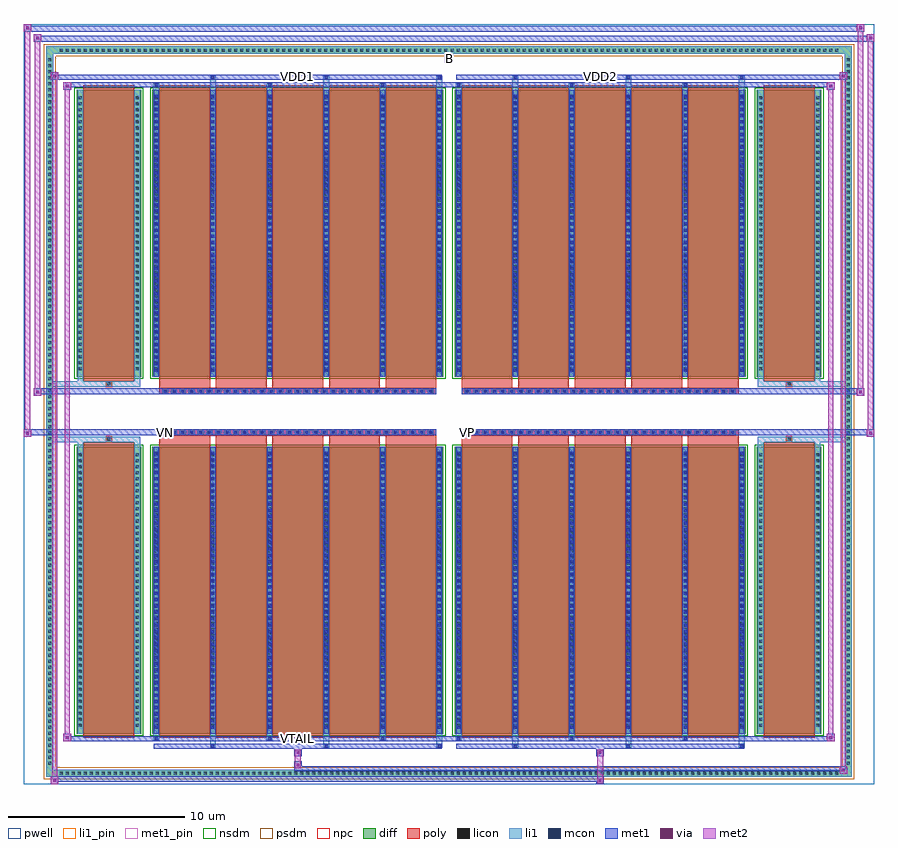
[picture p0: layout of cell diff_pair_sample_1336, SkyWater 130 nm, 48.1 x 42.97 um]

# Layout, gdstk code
import gdstk
lib = gdstk.Library(unit=1e-6, precision=5e-09)
def R(c, l, rs):  # rectangles x0, y0, x1, y1
    for r in rs: c.add(gdstk.rectangle(r[:2], r[2:], *l))
def A(c, l, x, y, w, h, nx, ny, dx, dy):  # array of equal rectangles
    R(c, l, [(x+i*dx, y+j*dy, x+i*dx+w, y+j*dy+h) for i in range(nx) for j in range(ny)])
def P(c, l, *ps):  # polygons
    for p in ps: c.add(gdstk.Polygon(p, *l))
pwell = (64, 44)
diff = (65, 20)
poly = (66, 20)
licon = (66, 44)
li1_pin = (67, 16)
li1 = (67, 20)
mcon = (67, 44)
met1_pin = (68, 16)
met1 = (68, 20)
via = (68, 44)
met2 = (69, 20)
nsdm = (93, 44)
psdm = (94, 20)
npc = (95, 20)

diff_pair_sample_1336 = lib.new_cell('diff_pair_sample_1336')
R(diff_pair_sample_1336, pwell, [(-24.05,-21.05,24.05,21.92), (-21.37,-19.24,-0.01,-0.8), (0.01,-19.24,21.37,-0.8), (-21.37,0.8,-0.01,19.24), (0.01,0.8,21.37,19.24)])
A(diff_pair_sample_1336, diff, -22.135, -20.65, 0.41, 0.41, 130, 2, 0.34, 40.89)
A(diff_pair_sample_1336, diff, -22.78, -20.095, 0.41, 0.41, 1, 118, 0, 0.34)
A(diff_pair_sample_1336, diff, 22.37, -20.095, 0.41, 0.41, 1, 118, 0, 0.34)
R(diff_pair_sample_1336, diff, [(-22.135,-20.65,22.135,-20.24), (-22.78,-20.095,-22.37,20.095), (22.37,-20.095,22.78,20.095), (-21.06,-18.195,-17.41,-1.985), (-16.77,-18.195,-0.32,-1.985), (0.32,-18.195,16.77,-1.985), (17.41,-18.195,21.06,-1.985), (-21.06,1.985,-17.41,18.195), (-16.77,1.985,-0.32,18.195), (0.32,1.985,16.77,18.195), (17.41,1.985,21.06,18.195), (-22.135,20.24,22.135,20.65)])
P(diff_pair_sample_1336, diff, [(22.78,20.65),(-22.78,20.65),(-22.78,-20.24),(-22.37,-20.24),(-22.37,20.24),(22.37,20.24),(22.37,-20.24),(-22.37,-20.24),(-22.78,-20.24),(-22.78,-20.65),(22.78,-20.65)])
A(diff_pair_sample_1336, poly, -16.38, -18.445, 2.87, 16.71, 5, 2, 3.2, 20.18)
A(diff_pair_sample_1336, poly, 0.71, -18.445, 2.87, 16.71, 5, 2, 3.2, 20.18)
A(diff_pair_sample_1336, poly, -16.38, -1.735, 2.87, 0.405, 5, 2, 3.2, 3.065)
A(diff_pair_sample_1336, poly, 0.71, -1.735, 2.87, 0.405, 5, 2, 3.2, 3.065)
A(diff_pair_sample_1336, poly, -16.21, -1.33, 0.33, 0.33, 31, 2, 0.5, 2.33)
A(diff_pair_sample_1336, poly, 0.88, -1.33, 0.33, 0.33, 31, 2, 0.5, 2.33)
R(diff_pair_sample_1336, poly, [(-20.67,-18.445,-17.8,-1.735), (17.8,-18.445,20.67,-1.735), (-19.4,-1.735,-19.07,-1.405), (-19.4,-1.735,-19.07,-1.405), (19.07,-1.735,19.4,-1.405), (19.07,-1.735,19.4,-1.405), (-16.38,-1.33,-0.71,-1), (0.71,-1.33,16.38,-1), (-16.38,1,-0.71,1.33), (0.71,1,16.38,1.33), (-19.4,1.405,-19.07,1.735), (-19.4,1.405,-19.07,1.735), (19.07,1.405,19.4,1.735), (19.07,1.405,19.4,1.735), (-20.67,1.735,-17.8,18.445), (17.8,1.735,20.67,18.445)])
A(diff_pair_sample_1336, licon, -22.015, -20.53, 0.17, 0.17, 130, 2, 0.34, 40.89)
A(diff_pair_sample_1336, licon, -22.66, -19.975, 0.17, 0.17, 1, 118, 0, 0.34)
A(diff_pair_sample_1336, licon, 22.49, -19.975, 0.17, 0.17, 1, 118, 0, 0.34)
A(diff_pair_sample_1336, licon, -20.92, -17.825, 0.17, 0.17, 1, 46, 0, 0.34)
A(diff_pair_sample_1336, licon, -17.72, -17.825, 0.17, 0.17, 1, 46, 0, 0.34)
A(diff_pair_sample_1336, licon, -16.63, -17.825, 0.17, 0.17, 6, 46, 3.2, 0.34)
A(diff_pair_sample_1336, licon, 0.46, -17.825, 0.17, 0.17, 6, 46, 3.2, 0.34)
A(diff_pair_sample_1336, licon, 17.55, -17.825, 0.17, 0.17, 1, 46, 0, 0.34)
A(diff_pair_sample_1336, licon, 20.75, -17.825, 0.17, 0.17, 1, 46, 0, 0.34)
A(diff_pair_sample_1336, licon, -16.13, -1.25, 0.17, 0.17, 31, 2, 0.5, 2.33)
A(diff_pair_sample_1336, licon, 0.96, -1.25, 0.17, 0.17, 31, 2, 0.5, 2.33)
A(diff_pair_sample_1336, licon, -20.92, 2.355, 0.17, 0.17, 1, 46, 0, 0.34)
A(diff_pair_sample_1336, licon, -17.72, 2.355, 0.17, 0.17, 1, 46, 0, 0.34)
A(diff_pair_sample_1336, licon, -16.63, 2.355, 0.17, 0.17, 6, 46, 3.2, 0.34)
A(diff_pair_sample_1336, licon, 0.46, 2.355, 0.17, 0.17, 6, 46, 3.2, 0.34)
A(diff_pair_sample_1336, licon, 17.55, 2.355, 0.17, 0.17, 1, 46, 0, 0.34)
A(diff_pair_sample_1336, licon, 20.75, 2.355, 0.17, 0.17, 1, 46, 0, 0.34)
R(diff_pair_sample_1336, licon, [(-19.32,-1.655,-19.15,-1.485), (19.15,-1.655,19.32,-1.485), (-19.32,1.485,-19.15,1.655), (19.15,1.485,19.32,1.655)])
R(diff_pair_sample_1336, li1_pin, [(-0.25,19.74,0.25,20.24)])
A(diff_pair_sample_1336, li1, -22.095, -20.61, 0.33, 0.33, 130, 2, 0.34, 40.89)
A(diff_pair_sample_1336, li1, -22.74, -20.055, 0.33, 0.33, 1, 118, 0, 0.34)
A(diff_pair_sample_1336, li1, 22.41, -20.055, 0.33, 0.33, 1, 118, 0, 0.34)
A(diff_pair_sample_1336, li1, -13.51, -19, 0.33, 0.805, 3, 2, 6.4, 37.195)
A(diff_pair_sample_1336, li1, -13.43, -19, 0.17, 0.17, 3, 2, 6.4, 37.83)
A(diff_pair_sample_1336, li1, 3.58, -19, 0.33, 0.805, 3, 2, 6.4, 37.195)
A(diff_pair_sample_1336, li1, 3.66, -19, 0.17, 0.17, 3, 2, 6.4, 37.83)
A(diff_pair_sample_1336, li1, -16.71, -18.57, 0.33, 0.375, 3, 2, 6.4, 36.765)
A(diff_pair_sample_1336, li1, -16.63, -18.57, 0.17, 0.17, 3, 2, 6.4, 36.97)
A(diff_pair_sample_1336, li1, 0.38, -18.57, 0.33, 0.375, 3, 2, 6.4, 36.765)
A(diff_pair_sample_1336, li1, 0.46, -18.57, 0.17, 0.17, 3, 2, 6.4, 36.97)
A(diff_pair_sample_1336, li1, -16.71, -18.195, 0.33, 16.21, 6, 2, 3.2, 20.18)
A(diff_pair_sample_1336, li1, 0.38, -18.195, 0.33, 16.21, 6, 2, 3.2, 20.18)
A(diff_pair_sample_1336, li1, -16.63, -17.915, 0.17, 0.17, 6, 44, 3.2, 0.36)
A(diff_pair_sample_1336, li1, -16.63, -17.915, 0.17, 15.65, 6, 2, 3.2, 20.18)
A(diff_pair_sample_1336, li1, 0.46, -17.915, 0.17, 0.17, 6, 44, 3.2, 0.36)
A(diff_pair_sample_1336, li1, 0.46, -17.915, 0.17, 15.65, 6, 2, 3.2, 20.18)
A(diff_pair_sample_1336, li1, -21, -17.905, 0.33, 0.33, 1, 46, 0, 0.34)
A(diff_pair_sample_1336, li1, -17.8, -17.905, 0.33, 0.33, 1, 46, 0, 0.34)
A(diff_pair_sample_1336, li1, -16.71, -17.905, 0.33, 0.33, 6, 46, 3.2, 0.34)
A(diff_pair_sample_1336, li1, 0.38, -17.905, 0.33, 0.33, 6, 46, 3.2, 0.34)
A(diff_pair_sample_1336, li1, 17.47, -17.905, 0.33, 0.33, 1, 46, 0, 0.34)
A(diff_pair_sample_1336, li1, 20.67, -17.905, 0.33, 0.33, 1, 46, 0, 0.34)
A(diff_pair_sample_1336, li1, -16.21, -1.33, 0.33, 0.33, 31, 2, 0.5, 2.33)
A(diff_pair_sample_1336, li1, 0.88, -1.33, 0.33, 0.33, 31, 2, 0.5, 2.33)
A(diff_pair_sample_1336, li1, -16.63, 2.265, 0.17, 0.17, 6, 44, 3.2, 0.36)
A(diff_pair_sample_1336, li1, 0.46, 2.265, 0.17, 0.17, 6, 44, 3.2, 0.36)
A(diff_pair_sample_1336, li1, -21, 2.275, 0.33, 0.33, 1, 46, 0, 0.34)
A(diff_pair_sample_1336, li1, -17.8, 2.275, 0.33, 0.33, 1, 46, 0, 0.34)
A(diff_pair_sample_1336, li1, -16.71, 2.275, 0.33, 0.33, 6, 46, 3.2, 0.34)
A(diff_pair_sample_1336, li1, 0.38, 2.275, 0.33, 0.33, 6, 46, 3.2, 0.34)
A(diff_pair_sample_1336, li1, 17.47, 2.275, 0.33, 0.33, 1, 46, 0, 0.34)
A(diff_pair_sample_1336, li1, 20.67, 2.275, 0.33, 0.33, 1, 46, 0, 0.34)
R(diff_pair_sample_1336, li1, [(-22.78,-20.65,-22.37,-20.24), (-22.78,-20.65,-22.37,-20.24), (-22.37,-20.65,22.37,-20.24), (22.37,-20.65,22.78,-20.24), (22.37,-20.65,22.78,-20.24), (-22.78,-20.24,-22.37,20.24), (22.37,-20.24,22.78,20.24), (-21,-18.195,-20.67,-1.985), (-17.8,-18.195,-17.47,-1.985), (17.47,-18.195,17.8,-1.985), (20.67,-18.195,21,-1.985), (-21,-1.985,-20.67,-1.405), (-17.8,-1.985,-17.47,-1.405), (17.47,-1.985,17.8,-1.405), (20.67,-1.985,21,-1.405), (-22.78,-1.735,-19.4,-1.405), (-21,-1.735,-19.4,-1.405), (-19.4,-1.735,-19.07,-1.405), (-19.07,-1.735,-17.47,-1.405), (17.47,-1.735,19.07,-1.405), (19.07,-1.735,19.4,-1.405), (19.07,-1.735,22.78,-1.405), (19.4,-1.735,21,-1.405), (-22.78,1.405,-19.4,1.735), (-21,1.405,-19.4,1.735), (-21,1.405,-20.67,1.985), (-19.4,1.405,-19.07,1.735), (-19.07,1.405,-17.47,1.735), (-17.8,1.405,-17.47,1.985), (17.47,1.405,19.07,1.735), (17.47,1.405,17.8,1.985), (19.07,1.405,19.4,1.735), (19.07,1.405,22.78,1.735), (19.4,1.405,21,1.735), (20.67,1.405,21,1.985), (-21,1.985,-20.67,18.195), (-17.8,1.985,-17.47,18.195), (17.47,1.985,17.8,18.195), (20.67,1.985,21,18.195), (-22.78,20.24,-22.37,20.65), (-22.78,20.24,-22.37,20.65), (-22.37,20.24,22.37,20.65), (22.37,20.24,22.78,20.65), (22.37,20.24,22.78,20.65)])
A(diff_pair_sample_1336, mcon, -13.43, -19, 0.17, 0.17, 3, 2, 6.4, 37.83)
A(diff_pair_sample_1336, mcon, 3.66, -19, 0.17, 0.17, 3, 2, 6.4, 37.83)
A(diff_pair_sample_1336, mcon, -16.63, -18.57, 0.17, 0.17, 3, 2, 6.4, 36.97)
A(diff_pair_sample_1336, mcon, 0.46, -18.57, 0.17, 0.17, 3, 2, 6.4, 36.97)
A(diff_pair_sample_1336, mcon, -16.63, -17.915, 0.17, 0.17, 6, 44, 3.2, 0.36)
A(diff_pair_sample_1336, mcon, 0.46, -17.915, 0.17, 0.17, 6, 44, 3.2, 0.36)
A(diff_pair_sample_1336, mcon, -16.13, -1.25, 0.17, 0.17, 31, 2, 0.5, 2.33)
A(diff_pair_sample_1336, mcon, 0.96, -1.25, 0.17, 0.17, 31, 2, 0.5, 2.33)
A(diff_pair_sample_1336, mcon, -16.63, 2.265, 0.17, 0.17, 6, 44, 3.2, 0.36)
A(diff_pair_sample_1336, mcon, 0.46, 2.265, 0.17, 0.17, 6, 44, 3.2, 0.36)
R(diff_pair_sample_1336, met1_pin, [(-8.68,-18.61,-8.41,-18.34), (-16.18,-1.29,-15.91,-1.02), (0.91,-1.29,1.18,-1.02), (-8.68,18.79,-8.41,19.06), (8.41,18.79,8.68,19.06)])
A(diff_pair_sample_1336, met1, -13.49, -19.06, 0.29, 0.29, 3, 2, 6.4, 37.83)
A(diff_pair_sample_1336, met1, 3.6, -19.06, 0.29, 0.29, 3, 2, 6.4, 37.83)
A(diff_pair_sample_1336, met1, -16.69, -18.63, 0.29, 0.29, 3, 2, 6.4, 36.97)
A(diff_pair_sample_1336, met1, 0.4, -18.63, 0.29, 0.29, 3, 2, 6.4, 36.97)
A(diff_pair_sample_1336, met1, -16.69, -18.195, 0.29, 16.21, 6, 2, 3.2, 20.18)
A(diff_pair_sample_1336, met1, 0.4, -18.195, 0.29, 16.21, 6, 2, 3.2, 20.18)
A(diff_pair_sample_1336, met1, -16.69, -17.975, 0.29, 0.29, 6, 44, 3.2, 0.36)
A(diff_pair_sample_1336, met1, 0.4, -17.975, 0.29, 0.29, 6, 44, 3.2, 0.36)
A(diff_pair_sample_1336, met1, -16.19, -1.31, 0.29, 0.29, 31, 2, 0.5, 2.33)
A(diff_pair_sample_1336, met1, 0.9, -1.31, 0.29, 0.29, 31, 2, 0.5, 2.33)
A(diff_pair_sample_1336, met1, -16.69, 2.205, 0.29, 0.29, 6, 44, 3.2, 0.36)
A(diff_pair_sample_1336, met1, 0.4, 2.205, 0.29, 0.29, 6, 44, 3.2, 0.36)
R(diff_pair_sample_1336, met1, [(-22.51,-21.05,-22.08,-20.62), (8.33,-21.05,8.76,-20.62), (-22.51,-20.91,8.76,-20.62), (22.08,-20.48,22.51,-20.05), (-8.76,-20.34,22.51,-20.05), (-8.76,-20.2,-8.33,-19.77), (-8.76,-19.49,-8.33,-19.06), (8.33,-19.49,8.76,-19.06), (-16.69,-19.06,-0.4,-18.77), (0.4,-19.06,16.69,-18.77), (-21.8,-18.63,-21.37,-18.2), (-21.8,-18.63,-16.69,-18.34), (-16.69,-18.63,-0.4,-18.34), (-0.4,-18.63,0.4,-18.34), (0.4,-18.63,16.69,-18.34), (16.69,-18.63,21.8,-18.34), (21.37,-18.63,21.8,-18.2), (-24.05,-1.43,-23.62,-1), (23.62,-1.43,24.05,-1), (-24.05,-1.33,-0.71,-1), (-16.38,-1.33,-0.71,-1), (0.71,-1.33,16.38,-1), (0.71,-1.33,24.05,-1), (-23.48,0.9,-23.05,1.33), (23.05,0.9,23.48,1.33), (-23.48,1,-16.38,1.33), (-16.38,1,-0.71,1.33), (0.71,1,16.38,1.33), (16.38,1,23.48,1.33), (-21.8,18.2,-21.37,18.63), (21.37,18.2,21.8,18.63), (-21.8,18.34,-16.69,18.63), (-16.69,18.34,-0.4,18.63), (-0.4,18.34,0.4,18.63), (0.4,18.34,16.69,18.63), (16.69,18.34,21.8,18.63), (-22.51,18.77,-22.08,19.2), (-22.51,18.77,-16.69,19.06), (-16.69,18.77,-0.4,19.06), (0.4,18.77,16.69,19.06), (16.69,18.77,22.51,19.06), (22.08,18.77,22.51,19.2), (-23.48,20.92,-23.05,21.35), (-23.48,20.92,-21.37,21.25), (-21.37,20.92,21.37,21.25), (21.37,20.92,24.05,21.25), (23.62,20.92,24.05,21.35), (-24.05,21.49,-23.62,21.92), (-24.05,21.49,-21.37,21.82), (-21.37,21.49,21.37,21.82), (21.37,21.49,23.48,21.82), (23.05,21.49,23.48,21.92)])
R(diff_pair_sample_1336, via, [(-22.37,-20.91,-22.22,-20.76), (8.47,-20.91,8.62,-20.76), (22.22,-20.34,22.37,-20.19), (-8.62,-20.06,-8.47,-19.91), (-8.62,-19.35,-8.47,-19.2), (8.47,-19.35,8.62,-19.2), (-21.66,-18.49,-21.51,-18.34), (21.51,-18.49,21.66,-18.34), (-23.91,-1.29,-23.76,-1.14), (23.76,-1.29,23.91,-1.14), (-23.34,1.04,-23.19,1.19), (23.19,1.04,23.34,1.19), (-21.66,18.34,-21.51,18.49), (21.51,18.34,21.66,18.49), (-22.37,18.91,-22.22,19.06), (22.22,18.91,22.37,19.06), (-23.34,21.06,-23.19,21.21), (23.76,21.06,23.91,21.21), (-23.91,21.63,-23.76,21.78), (23.19,21.63,23.34,21.78)])
R(diff_pair_sample_1336, met2, [(-22.51,-21.05,-22.08,-20.62), (-22.44,-21.05,-22.15,19.2), (-22.15,-21.05,-22.08,-20.62), (-22.46,-21,-22.13,-20.67), (8.38,-21,8.71,-20.67), (8.38,-20.67,8.71,-19.44), (22.08,-20.48,22.51,-20.05), (22.15,-20.48,22.44,19.2), (22.44,-20.48,22.51,-20.05), (22.13,-20.43,22.46,-20.1), (-8.71,-20.15,-8.38,-19.82), (-8.71,-19.82,-8.38,-19.44), (-8.71,-19.44,-8.38,-19.11), (8.38,-19.44,8.71,-19.11), (-21.8,-18.63,-21.37,-18.2), (-21.73,-18.63,-21.44,18.63), (-21.44,-18.63,-21.37,-18.2), (21.37,-18.63,21.8,-18.2), (21.44,-18.63,21.73,18.63), (21.73,-18.63,21.8,-18.2), (-21.75,-18.58,-21.42,-18.25), (21.42,-18.58,21.75,-18.25), (-24.05,-1.43,-23.62,-1), (-24,-1.43,-23.67,21.92), (-23.67,-1.43,-23.62,-1), (23.62,-1.43,24.05,-1), (23.67,-1.43,24,21.35), (24,-1.43,24.05,-1), (-24,-1.38,-23.67,-1.05), (23.67,-1.38,24,-1.05), (-23.48,0.9,-23.05,1.33), (-23.43,0.9,-23.1,21.35), (-23.1,0.9,-23.05,1.33), (23.05,0.9,23.48,1.33), (23.1,0.9,23.43,21.92), (23.43,0.9,23.48,1.33), (-23.43,0.95,-23.1,1.28), (23.1,0.95,23.43,1.28), (-21.8,18.2,-21.37,18.63), (-21.44,18.2,-21.37,18.63), (21.37,18.2,21.8,18.63), (21.73,18.2,21.8,18.63), (-21.75,18.25,-21.42,18.58), (21.42,18.25,21.75,18.58), (-22.51,18.77,-22.08,19.2), (-22.15,18.77,-22.08,19.2), (22.08,18.77,22.51,19.2), (22.44,18.77,22.51,19.2), (-22.46,18.82,-22.13,19.15), (22.13,18.82,22.46,19.15), (-23.48,20.92,-23.05,21.35), (-23.1,20.92,-23.05,21.35), (23.62,20.92,24.05,21.35), (24,20.92,24.05,21.35), (-23.43,20.97,-23.1,21.3), (23.67,20.97,24,21.3), (-24.05,21.49,-23.62,21.92), (-23.67,21.49,-23.62,21.92), (23.05,21.49,23.48,21.92), (23.43,21.49,23.48,21.92), (-24,21.54,-23.67,21.87), (23.1,21.54,23.43,21.87)])
R(diff_pair_sample_1336, nsdm, [(-21.19,-18.325,-17.28,-1.855), (-16.9,-18.325,-0.19,-1.855), (0.19,-18.325,16.9,-1.855), (17.28,-18.325,21.19,-1.855), (-21.19,1.855,-17.28,18.325), (-16.9,1.855,-0.19,18.325), (0.19,1.855,16.9,18.325), (17.28,1.855,21.19,18.325)])
P(diff_pair_sample_1336, psdm, [(22.91,20.78),(-22.91,20.78),(-22.91,-20.11),(-22.24,-20.11),(-22.24,20.11),(22.24,20.11),(22.24,-20.11),(-22.24,-20.11),(-22.91,-20.11),(-22.91,-20.78),(22.91,-20.78)])
A(diff_pair_sample_1336, npc, -16.23, -1.35, 0.37, 0.37, 31, 2, 0.5, 2.33)
A(diff_pair_sample_1336, npc, 0.86, -1.35, 0.37, 0.37, 31, 2, 0.5, 2.33)
R(diff_pair_sample_1336, npc, [(-19.42,-1.755,-19.05,-1.385), (19.05,-1.755,19.42,-1.385), (-16.23,-1.35,-15.36,-0.98), (-16.23,-1.35,-15.36,-0.98), (-15.73,-1.35,-14.86,-0.98), (-15.73,-1.35,-14.86,-0.98), (-15.23,-1.35,-14.36,-0.98), (-15.23,-1.35,-14.36,-0.98), (-14.73,-1.35,-13.86,-0.98), (-14.73,-1.35,-13.86,-0.98), (-14.23,-1.35,-13.36,-0.98), (-14.23,-1.35,-13.36,-0.98), (-13.73,-1.35,-12.86,-0.98), (-13.73,-1.35,-12.86,-0.98), (-13.23,-1.35,-12.36,-0.98), (-13.23,-1.35,-12.36,-0.98), (-12.73,-1.35,-11.86,-0.98), (-12.73,-1.35,-11.86,-0.98), (-12.23,-1.35,-11.36,-0.98), (-12.23,-1.35,-11.36,-0.98), (-11.73,-1.35,-10.86,-0.98), (-11.73,-1.35,-10.86,-0.98), (-11.23,-1.35,-10.36,-0.98), (-11.23,-1.35,-10.36,-0.98), (-10.73,-1.35,-9.86,-0.98), (-10.73,-1.35,-9.86,-0.98), (-10.23,-1.35,-9.36,-0.98), (-10.23,-1.35,-9.36,-0.98), (-9.73,-1.35,-8.86,-0.98), (-9.73,-1.35,-8.86,-0.98), (-9.23,-1.35,-8.36,-0.98), (-9.23,-1.35,-8.36,-0.98), (-8.73,-1.35,-7.86,-0.98), (-8.73,-1.35,-7.86,-0.98), (-8.23,-1.35,-7.36,-0.98), (-8.23,-1.35,-7.36,-0.98), (-7.73,-1.35,-6.86,-0.98), (-7.73,-1.35,-6.86,-0.98), (-7.23,-1.35,-6.36,-0.98), (-7.23,-1.35,-6.36,-0.98), (-6.73,-1.35,-5.86,-0.98), (-6.73,-1.35,-5.86,-0.98), (-6.23,-1.35,-5.36,-0.98), (-6.23,-1.35,-5.36,-0.98), (-5.73,-1.35,-4.86,-0.98), (-5.73,-1.35,-4.86,-0.98), (-5.23,-1.35,-4.36,-0.98), (-5.23,-1.35,-4.36,-0.98), (-4.73,-1.35,-3.86,-0.98), (-4.73,-1.35,-3.86,-0.98), (-4.23,-1.35,-3.36,-0.98), (-4.23,-1.35,-3.36,-0.98), (-3.73,-1.35,-2.86,-0.98), (-3.73,-1.35,-2.86,-0.98), (-3.23,-1.35,-2.36,-0.98), (-3.23,-1.35,-2.36,-0.98), (-2.73,-1.35,-1.86,-0.98), (-2.73,-1.35,-1.86,-0.98), (-2.23,-1.35,-1.36,-0.98), (-2.23,-1.35,-1.36,-0.98), (-1.73,-1.35,-0.86,-0.98), (-1.73,-1.35,-0.86,-0.98), (0.86,-1.35,1.73,-0.98), (0.86,-1.35,1.73,-0.98), (1.36,-1.35,2.23,-0.98), (1.36,-1.35,2.23,-0.98), (1.86,-1.35,2.73,-0.98), (1.86,-1.35,2.73,-0.98), (2.36,-1.35,3.23,-0.98), (2.36,-1.35,3.23,-0.98), (2.86,-1.35,3.73,-0.98), (2.86,-1.35,3.73,-0.98), (3.36,-1.35,4.23,-0.98), (3.36,-1.35,4.23,-0.98), (3.86,-1.35,4.73,-0.98), (3.86,-1.35,4.73,-0.98), (4.36,-1.35,5.23,-0.98), (4.36,-1.35,5.23,-0.98), (4.86,-1.35,5.73,-0.98), (4.86,-1.35,5.73,-0.98), (5.36,-1.35,6.23,-0.98), (5.36,-1.35,6.23,-0.98), (5.86,-1.35,6.73,-0.98), (5.86,-1.35,6.73,-0.98), (6.36,-1.35,7.23,-0.98), (6.36,-1.35,7.23,-0.98), (6.86,-1.35,7.73,-0.98), (6.86,-1.35,7.73,-0.98), (7.36,-1.35,8.23,-0.98), (7.36,-1.35,8.23,-0.98), (7.86,-1.35,8.73,-0.98), (7.86,-1.35,8.73,-0.98), (8.36,-1.35,9.23,-0.98), (8.36,-1.35,9.23,-0.98), (8.86,-1.35,9.73,-0.98), (8.86,-1.35,9.73,-0.98), (9.36,-1.35,10.23,-0.98), (9.36,-1.35,10.23,-0.98), (9.86,-1.35,10.73,-0.98), (9.86,-1.35,10.73,-0.98), (10.36,-1.35,11.23,-0.98), (10.36,-1.35,11.23,-0.98), (10.86,-1.35,11.73,-0.98), (10.86,-1.35,11.73,-0.98), (11.36,-1.35,12.23,-0.98), (11.36,-1.35,12.23,-0.98), (11.86,-1.35,12.73,-0.98), (11.86,-1.35,12.73,-0.98), (12.36,-1.35,13.23,-0.98), (12.36,-1.35,13.23,-0.98), (12.86,-1.35,13.73,-0.98), (12.86,-1.35,13.73,-0.98), (13.36,-1.35,14.23,-0.98), (13.36,-1.35,14.23,-0.98), (13.86,-1.35,14.73,-0.98), (13.86,-1.35,14.73,-0.98), (14.36,-1.35,15.23,-0.98), (14.36,-1.35,15.23,-0.98), (14.86,-1.35,15.73,-0.98), (14.86,-1.35,15.73,-0.98), (15.36,-1.35,16.23,-0.98), (15.36,-1.35,16.23,-0.98), (-16.23,0.98,-15.36,1.35), (-16.23,0.98,-15.36,1.35), (-15.73,0.98,-14.86,1.35), (-15.73,0.98,-14.86,1.35), (-15.23,0.98,-14.36,1.35), (-15.23,0.98,-14.36,1.35), (-14.73,0.98,-13.86,1.35), (-14.73,0.98,-13.86,1.35), (-14.23,0.98,-13.36,1.35), (-14.23,0.98,-13.36,1.35), (-13.73,0.98,-12.86,1.35), (-13.73,0.98,-12.86,1.35), (-13.23,0.98,-12.36,1.35), (-13.23,0.98,-12.36,1.35), (-12.73,0.98,-11.86,1.35), (-12.73,0.98,-11.86,1.35), (-12.23,0.98,-11.36,1.35), (-12.23,0.98,-11.36,1.35), (-11.73,0.98,-10.86,1.35), (-11.73,0.98,-10.86,1.35), (-11.23,0.98,-10.36,1.35), (-11.23,0.98,-10.36,1.35), (-10.73,0.98,-9.86,1.35), (-10.73,0.98,-9.86,1.35), (-10.23,0.98,-9.36,1.35), (-10.23,0.98,-9.36,1.35), (-9.73,0.98,-8.86,1.35), (-9.73,0.98,-8.86,1.35), (-9.23,0.98,-8.36,1.35), (-9.23,0.98,-8.36,1.35), (-8.73,0.98,-7.86,1.35), (-8.73,0.98,-7.86,1.35), (-8.23,0.98,-7.36,1.35), (-8.23,0.98,-7.36,1.35), (-7.73,0.98,-6.86,1.35), (-7.73,0.98,-6.86,1.35), (-7.23,0.98,-6.36,1.35), (-7.23,0.98,-6.36,1.35), (-6.73,0.98,-5.86,1.35), (-6.73,0.98,-5.86,1.35), (-6.23,0.98,-5.36,1.35), (-6.23,0.98,-5.36,1.35), (-5.73,0.98,-4.86,1.35), (-5.73,0.98,-4.86,1.35), (-5.23,0.98,-4.36,1.35), (-5.23,0.98,-4.36,1.35), (-4.73,0.98,-3.86,1.35), (-4.73,0.98,-3.86,1.35), (-4.23,0.98,-3.36,1.35), (-4.23,0.98,-3.36,1.35), (-3.73,0.98,-2.86,1.35), (-3.73,0.98,-2.86,1.35), (-3.23,0.98,-2.36,1.35), (-3.23,0.98,-2.36,1.35), (-2.73,0.98,-1.86,1.35), (-2.73,0.98,-1.86,1.35), (-2.23,0.98,-1.36,1.35), (-2.23,0.98,-1.36,1.35), (-1.73,0.98,-0.86,1.35), (-1.73,0.98,-0.86,1.35), (0.86,0.98,1.73,1.35), (0.86,0.98,1.73,1.35), (1.36,0.98,2.23,1.35), (1.36,0.98,2.23,1.35), (1.86,0.98,2.73,1.35), (1.86,0.98,2.73,1.35), (2.36,0.98,3.23,1.35), (2.36,0.98,3.23,1.35), (2.86,0.98,3.73,1.35), (2.86,0.98,3.73,1.35), (3.36,0.98,4.23,1.35), (3.36,0.98,4.23,1.35), (3.86,0.98,4.73,1.35), (3.86,0.98,4.73,1.35), (4.36,0.98,5.23,1.35), (4.36,0.98,5.23,1.35), (4.86,0.98,5.73,1.35), (4.86,0.98,5.73,1.35), (5.36,0.98,6.23,1.35), (5.36,0.98,6.23,1.35), (5.86,0.98,6.73,1.35), (5.86,0.98,6.73,1.35), (6.36,0.98,7.23,1.35), (6.36,0.98,7.23,1.35), (6.86,0.98,7.73,1.35), (6.86,0.98,7.73,1.35), (7.36,0.98,8.23,1.35), (7.36,0.98,8.23,1.35), (7.86,0.98,8.73,1.35), (7.86,0.98,8.73,1.35), (8.36,0.98,9.23,1.35), (8.36,0.98,9.23,1.35), (8.86,0.98,9.73,1.35), (8.86,0.98,9.73,1.35), (9.36,0.98,10.23,1.35), (9.36,0.98,10.23,1.35), (9.86,0.98,10.73,1.35), (9.86,0.98,10.73,1.35), (10.36,0.98,11.23,1.35), (10.36,0.98,11.23,1.35), (10.86,0.98,11.73,1.35), (10.86,0.98,11.73,1.35), (11.36,0.98,12.23,1.35), (11.36,0.98,12.23,1.35), (11.86,0.98,12.73,1.35), (11.86,0.98,12.73,1.35), (12.36,0.98,13.23,1.35), (12.36,0.98,13.23,1.35), (12.86,0.98,13.73,1.35), (12.86,0.98,13.73,1.35), (13.36,0.98,14.23,1.35), (13.36,0.98,14.23,1.35), (13.86,0.98,14.73,1.35), (13.86,0.98,14.73,1.35), (14.36,0.98,15.23,1.35), (14.36,0.98,15.23,1.35), (14.86,0.98,15.73,1.35), (14.86,0.98,15.73,1.35), (15.36,0.98,16.23,1.35), (15.36,0.98,16.23,1.35), (-19.42,1.385,-19.05,1.755), (19.05,1.385,19.42,1.755)])
diff_pair_sample_1336.add(gdstk.Label('VTAIL', (-8.545,-18.475), layer=68, texttype=5))
diff_pair_sample_1336.add(gdstk.Label('VN', (-16.045,-1.155), layer=68, texttype=5))
diff_pair_sample_1336.add(gdstk.Label('VP', (1.045,-1.155), layer=68, texttype=5))
diff_pair_sample_1336.add(gdstk.Label('B', (0,19.99), layer=67, texttype=5))
diff_pair_sample_1336.add(gdstk.Label('VDD2', (8.545,18.925), layer=68, texttype=5))
diff_pair_sample_1336.add(gdstk.Label('VDD1', (-8.545,18.925), layer=68, texttype=5))

lib.write_gds('diff_pair_sample_1336.gds')
